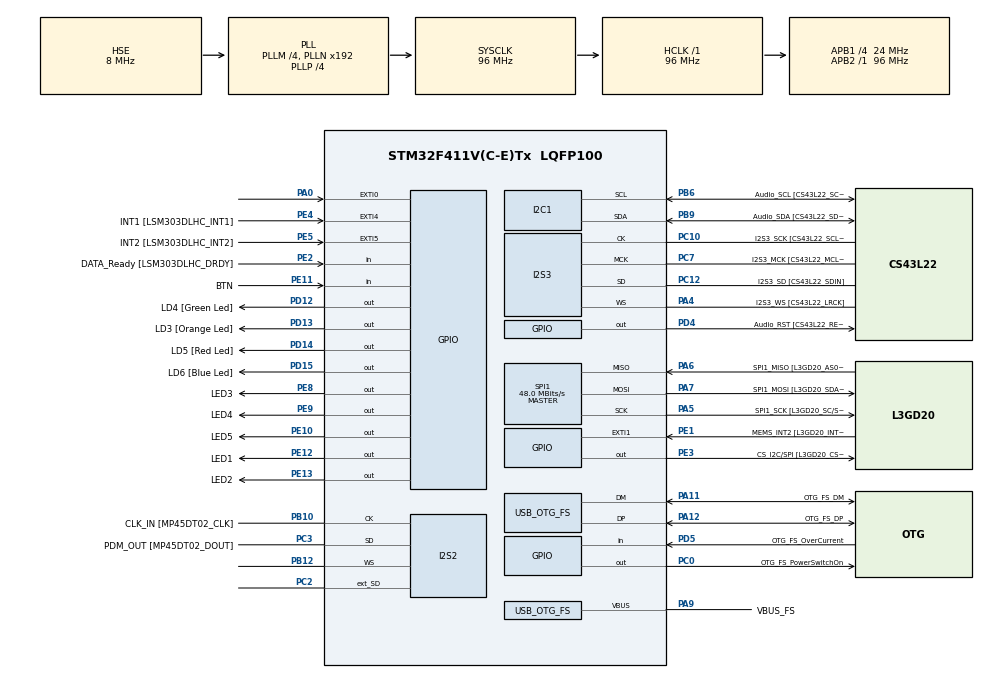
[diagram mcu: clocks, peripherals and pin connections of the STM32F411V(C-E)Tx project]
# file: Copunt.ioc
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I2S2.AudioFreq=I2S_AUDIOFREQ_96K
I2S2.ErrorAudioFreq=0.15 %
I2S2.FullDuplexMode=I2S_FULLDUPLEXMODE_ENABLE
I2S2.Instance=SPI$Index
I2S2.RealAudioFreq=96.153 KHz
I2S2.VirtualMode=I2S_MODE_MASTER
I2S3.AudioFreq=I2S_AUDIOFREQ_96K
I2S3.ErrorAudioFreq=-6.99 %
I2S3.FullDuplexMode=I2S_FULLDUPLEXMODE_DISABLE
I2S3.Instance=SPI$Index
I2S3.RealAudioFreq=89.285 KHz
I2S3.VirtualMode=I2S_MODE_MASTER
Mcu.Family=STM32F4
Mcu.Name=STM32F411V(C-E)Tx
Mcu.Package=LQFP100
NVIC.OTG_FS_IRQn=true\:0\:0\:false\:false\:true\:true\:true\:true
NVIC.PriorityGroup=NVIC_PRIORITYGROUP_0
PA0-WKUP.GPIO_ModeDefaultEXTI=GPIO_MODE_EVT_RISING
PA0-WKUP.Signal=GPXTI0
PA10.GPIO_Label=OTG_FS_ID
PA10.Signal=USB_OTG_FS_ID
PA11.GPIO_Label=OTG_FS_DM
PA11.Mode=Host_Only
PA11.Signal=USB_OTG_FS_DM
PA12.GPIO_Label=OTG_FS_DP
PA12.Mode=Host_Only
PA12.Signal=USB_OTG_FS_DP
PA13.GPIO_Label=SWDIO
PA13.Mode=Serial_Wire
PA13.Signal=SYS_JTMS-SWDIO
PA14.GPIO_Label=SWCLK
PA14.Mode=Serial_Wire
PA14.Signal=SYS_JTCK-SWCLK
PA4.GPIO_Label=I2S3_WS [CS43L22_LRCK]
PA4.GPIO_Mode=GPIO_MODE_AF_PP
PA4.GPIO_PuPd=GPIO_NOPULL
PA4.GPIO_Speed=GPIO_SPEED_FREQ_LOW
PA4.Mode=Half_Duplex_Master
PA4.Signal=I2S3_WS
PA5.GPIO_Label=SPI1_SCK [L3GD20_SC/SPC]
PA5.Mode=Full_Duplex_Master
PA5.Signal=SPI1_SCK
PA6.GPIO_Label=SPI1_MISO [L3GD20_AS0/SDO]
PA6.Mode=Full_Duplex_Master
PA6.Signal=SPI1_MISO
PA7.GPIO_Label=SPI1_MOSI [L3GD20_SDA/SDI/SDO]
PA7.Mode=Full_Duplex_Master
PA7.Signal=SPI1_MOSI
PA9.GPIO_Label=VBUS_FS
PA9.Mode=Activate_VBUS
PA9.Signal=USB_OTG_FS_VBUS
PB10.GPIO_Label=CLK_IN [MP45DT02_CLK]
PB10.Mode=Full_Duplex_Master
PB10.Signal=I2S2_CK
PB12.Mode=Full_Duplex_Master
PB12.Signal=I2S2_WS
PB3.GPIO_Label=SWO
PB3.Signal=SYS_JTDO-SWO
PB6.GPIO_Label=Audio_SCL [CS43L22_SCL]
PB6.GPIO_Mode=GPIO_MODE_AF_OD
PB6.GPIO_Pu=GPIO_PULLUP
PB6.GPIO_PuPd=GPIO_NOPULL
PB6.GPIO_Speed=GPIO_SPEED_FREQ_LOW
PB6.Mode=I2C
PB6.Signal=I2C1_SCL
PB9.GPIO_Label=Audio_SDA [CS43L22_SDA]
PB9.GPIO_Mode=GPIO_MODE_AF_OD
PB9.GPIO_Pu=GPIO_PULLUP
PB9.GPIO_PuPd=GPIO_NOPULL
PB9.GPIO_Speed=GPIO_SPEED_FREQ_LOW
PB9.Mode=I2C
PB9.Signal=I2C1_SDA
PC0.GPIO_Label=OTG_FS_PowerSwitchOn
PC0.PinState=GPIO_PIN_SET
PC0.Signal=GPIO_Output
PC10.GPIO_Label=I2S3_SCK [CS43L22_SCLK]
PC10.GPIO_Mode=GPIO_MODE_AF_PP
PC10.GPIO_PuPd=GPIO_NOPULL
PC10.GPIO_Speed=GPIO_SPEED_FREQ_LOW
PC10.Mode=Half_Duplex_Master
PC10.Signal=I2S3_CK
PC12.GPIO_Label=I2S3_SD [CS43L22_SDIN]
PC12.GPIO_Mode=GPIO_MODE_AF_PP
PC12.GPIO_PuPd=GPIO_NOPULL
PC12.GPIO_Speed=GPIO_SPEED_FREQ_LOW
PC12.Mode=Half_Duplex_Master
PC12.Signal=I2S3_SD
PC14-OSC32_IN.GPIO_Label=PC14-OSC32_IN
PC14-OSC32_IN.Mode=LSE-External-Oscillator
PC14-OSC32_IN.Signal=RCC_OSC32_IN
PC15-OSC32_OUT.GPIO_Label=PC15-OSC32_OUT
PC15-OSC32_OUT.Mode=LSE-External-Oscillator
PC15-OSC32_OUT.Signal=RCC_OSC32_OUT
PC2.Mode=Full_Duplex_Master
PC2.Signal=I2S2_ext_SD
PC3.GPIO_Label=PDM_OUT [MP45DT02_DOUT]
PC3.Mode=Full_Duplex_Master
PC3.Signal=I2S2_SD
PC7.GPIO_Label=I2S3_MCK [CS43L22_MCLK]
PC7.GPIO_Mode=GPIO_MODE_AF_PP
PC7.GPIO_PuPd=GPIO_NOPULL
PC7.GPIO_Speed=GPIO_SPEED_FREQ_LOW
PC7.Mode=Master_Clock_Activated
PC7.Signal=I2S3_MCK
PD12.GPIO_Label=LD4 [Green Led]
PD12.GPIO_PuPd=GPIO_NOPULL
PD12.GPIO_Speed=GPIO_SPEED_FREQ_LOW
PD12.Signal=GPIO_Output
PD13.GPIO_Label=LD3 [Orange Led]
PD13.GPIO_PuPd=GPIO_NOPULL
PD13.GPIO_Speed=GPIO_SPEED_FREQ_LOW
PD13.Signal=GPIO_Output
PD14.GPIO_Label=LD5 [Red Led]
PD14.GPIO_PuPd=GPIO_NOPULL
PD14.GPIO_Speed=GPIO_SPEED_FREQ_LOW
PD14.Signal=GPIO_Output
PD15.GPIO_Label=LD6 [Blue Led]
PD15.GPIO_PuPd=GPIO_NOPULL
PD15.GPIO_Speed=GPIO_SPEED_FREQ_LOW
PD15.Signal=GPIO_Output
PD4.GPIO_Label=Audio_RST [CS43L22_RESET]
PD4.Signal=GPIO_Output
PD5.GPIO_Label=OTG_FS_OverCurrent
PD5.Signal=GPIO_Input
PE1.GPIO_Label=MEMS_INT2 [L3GD20_INT2]
PE1.GPIO_ModeDefaultEXTI=GPIO_MODE_EVT_RISING
PE1.Signal=GPXTI1
PE10.GPIO_Label=LED5
PE10.Signal=GPIO_Output
PE11.GPIO_Label=BTN
PE11.Signal=GPIO_Input
PE12.GPIO_Label=LED1
PE12.Signal=GPIO_Output
PE13.GPIO_Label=LED2
PE13.Signal=GPIO_Output
PE2.GPIO_Label=DATA_Ready [LSM303DLHC_DRDY]
PE2.Signal=GPIO_Input
PE3.GPIO_Label=CS_I2C/SPI [L3GD20_CS_I2C/SPI]
PE3.Signal=GPIO_Output
PE4.GPIO_Label=INT1 [LSM303DLHC_INT1]
PE4.GPIO_ModeDefaultEXTI=GPIO_MODE_EVT_RISING
PE4.Signal=GPXTI4
PE5.GPIO_Label=INT2 [LSM303DLHC_INT2]
PE5.GPIO_ModeDefaultEXTI=GPIO_MODE_EVT_RISING
PE5.Signal=GPXTI5
PE8.GPIO_Label=LED3
PE8.Signal=GPIO_Output
PE9.GPIO_Label=LED4
PE9.Signal=GPIO_Output
PH0\ -\ OSC_IN.GPIO_Label=PH0-OSC_IN
PH0\ -\ OSC_IN.Mode=HSE-External-Clock-Source
PH0\ -\ OSC_IN.Signal=RCC_OSC_IN
PH1\ -\ OSC_OUT.GPIO_Label=PH1-OSC_OUT
PH1\ -\ OSC_OUT.Mode=HSE-External-Clock-Source
PH1\ -\ OSC_OUT.Signal=RCC_OSC_OUT
ProjectManager.HeapSize=0x200
ProjectManager.StackSize=0x400
ProjectManager.TargetToolchain=STM32CubeIDE
RCC.48MHZClocksFreq_Value=48000000
RCC.AHBFreq_Value=96000000
RCC.APB1CLKDivider=RCC_HCLK_DIV4
RCC.APB1Freq_Value=24000000
RCC.APB1TimFreq_Value=48000000
RCC.APB2Freq_Value=96000000
RCC.APB2TimFreq_Value=96000000
RCC.CortexFreq_Value=96000000
RCC.HCLKFreq_Value=96000000
RCC.HSE_VALUE=8000000
RCC.HSI_VALUE=16000000
RCC.PLLI2SM=5
RCC.PLLI2SN=200
RCC.PLLM=4
RCC.PLLP=RCC_PLLP_DIV4
RCC.PLLQ=8
RCC.SYSCLKFreq_VALUE=96000000
RCC.SYSCLKSource=RCC_SYSCLKSOURCE_PLLCLK
RCC.VCOOutputFreq_Value=384000000
SPI1.BaudRatePrescaler=SPI_BAUDRATEPRESCALER_2
SPI1.CalculateBaudRate=48.0 MBits/s
SPI1.Direction=SPI_DIRECTION_2LINES
SPI1.Mode=SPI_MODE_MASTER
SPI1.VirtualType=VM_MASTER
USB_HOST.BSP.number=1
USB_HOST.USBH_HandleTypeDef=hUsbHostFS
USB_HOST.VirtualModeFS=Cdc
USB_HOST0.BSP.STBoard=false
USB_HOST0.BSP.api=Unknown
USB_HOST0.BSP.instance=PC0
USB_HOST0.BSP.ip=GPIO
USB_HOST0.BSP.mode=Output
USB_HOST0.BSP.name=Drive_VBUS_FS
USB_HOST0.BSP.solution=PC0
USB_OTG_FS.VirtualMode=Host_Only
USB_OTG_FS.phy_itface=HCD_PHY_EMBEDDED
VP_USB_HOST_VS_USB_HOST_CDC_FS.Mode=CDC_FS
board=STM32F411E-DISCO

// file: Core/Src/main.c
/* USER CODE BEGIN Header */
/**
  ******************************************************************************
  * @file           : main.c
  * @brief          : Main program body
  ******************************************************************************
  * @attention
  *
  * Copyright (c) 2024 STMicroelectronics.
  * All rights reserved.
  *
  * This software is licensed under terms that can be found in the LICENSE file
  * in the root directory of this software component.
  * If no LICENSE file comes with this software, it is provided AS-IS.
  *
  ******************************************************************************
  */
/* USER CODE END Header */
#include "main.h"
#include "i2c.h"
#include "i2s.h"
#include "spi.h"
#include "usb_host.h"
#include "gpio.h"

/* USER CODE BEGIN PV */
volatile int pressed = 0;

/* USER CODE END PV */

void SystemClock_Config(void);
void PeriphCommonClock_Config(void);
void MX_USB_HOST_Process(void);

int main(void)
{

  /* MCU Configuration--------------------------------------------------------*/

  /* Reset of all peripherals, Initializes the Flash interface and the Systick. */
  HAL_Init();

  /* Configure the system clock */
  SystemClock_Config();

/* Configure the peripherals common clocks */
  PeriphCommonClock_Config();

  /* Initialize all configured peripherals */
  MX_GPIO_Init();
  MX_I2C1_Init();
  MX_I2S2_Init();
  MX_I2S3_Init();
  MX_SPI1_Init();
  MX_USB_HOST_Init();

  /* Infinite loop */
  /* USER CODE BEGIN WHILE */
  int button_is_pressed = 0;
  int last_change_tick = 0;

  while (1)
  {
    HAL_Delay(50);

    if (HAL_GPIO_ReadPin(GPIOE, GPIO_PIN_11) == GPIO_PIN_SET)
    {
      if (HAL_GetTick() - last_change_tick >= 50)
      {
        last_change_tick = HAL_GetTick();

        if (button_is_pressed)
        {
          button_is_pressed = 0;
          ++pressed;
        }
        else
        {
          button_is_pressed = 1;
        }
      }
    }

    // Update LEDs based on 'pressed' value
    HAL_GPIO_WritePin(GPIOE, GPIO_PIN_12, pressed & 1);
    HAL_GPIO_WritePin(GPIOE, GPIO_PIN_13, pressed & 1 << 1);
    HAL_GPIO_WritePin(GPIOE, GPIO_PIN_8, pressed & 1 << 2);
    HAL_GPIO_WritePin(GPIOE, GPIO_PIN_9, pressed & 1 << 3);
    HAL_GPIO_WritePin(GPIOE, GPIO_PIN_10, pressed & 1 << 4);

    /* USER CODE END WHILE */
    MX_USB_HOST_Process();

  }
}

void SystemClock_Config(void)
{
  RCC_OscInitTypeDef RCC_OscInitStruct = {0};
  RCC_ClkInitTypeDef RCC_ClkInitStruct = {0};

  /** Configure the main internal regulator output voltage
  */
  __HAL_RCC_PWR_CLK_ENABLE();
  __HAL_PWR_VOLTAGESCALING_CONFIG(PWR_REGULATOR_VOLTAGE_SCALE1);

  /** Initializes the RCC Oscillators according to the specified parameters
  * in the RCC_OscInitTypeDef structure.
  */
  RCC_OscInitStruct.OscillatorType = RCC_OSCILLATORTYPE_HSE;
  RCC_OscInitStruct.HSEState = RCC_HSE_BYPASS;
  RCC_OscInitStruct.PLL.PLLState = RCC_PLL_ON;
  RCC_OscInitStruct.PLL.PLLSource = RCC_PLLSOURCE_HSE;
  RCC_OscInitStruct.PLL.PLLM = 4;
  RCC_OscInitStruct.PLL.PLLN = 192;
  RCC_OscInitStruct.PLL.PLLP = RCC_PLLP_DIV4;
  RCC_OscInitStruct.PLL.PLLQ = 8;
  if (HAL_RCC_OscConfig(&RCC_OscInitStruct) != HAL_OK)
  {
    Error_Handler();
  }

  /** Initializes the CPU, AHB and APB buses clocks
  */
  RCC_ClkInitStruct.ClockType = RCC_CLOCKTYPE_HCLK|RCC_CLOCKTYPE_SYSCLK
                              |RCC_CLOCKTYPE_PCLK1|RCC_CLOCKTYPE_PCLK2;
  RCC_ClkInitStruct.SYSCLKSource = RCC_SYSCLKSOURCE_PLLCLK;
  RCC_ClkInitStruct.AHBCLKDivider = RCC_SYSCLK_DIV1;
  RCC_ClkInitStruct.APB1CLKDivider = RCC_HCLK_DIV4;
  RCC_ClkInitStruct.APB2CLKDivider = RCC_HCLK_DIV1;

  if (HAL_RCC_ClockConfig(&RCC_ClkInitStruct, FLASH_LATENCY_3) != HAL_OK)
  {
    Error_Handler();
  }
}

void PeriphCommonClock_Config(void)
{
  RCC_PeriphCLKInitTypeDef PeriphClkInitStruct = {0};

  /** Initializes the peripherals clock
  */
  PeriphClkInitStruct.PeriphClockSelection = RCC_PERIPHCLK_I2S;
  PeriphClkInitStruct.PLLI2S.PLLI2SN = 200;
  PeriphClkInitStruct.PLLI2S.PLLI2SM = 5;
  PeriphClkInitStruct.PLLI2S.PLLI2SR = 2;
  if (HAL_RCCEx_PeriphCLKConfig(&PeriphClkInitStruct) != HAL_OK)
  {
    Error_Handler();
  }
}

void Error_Handler(void)
{
  __disable_irq();
  while (1)
  {
  }
}
